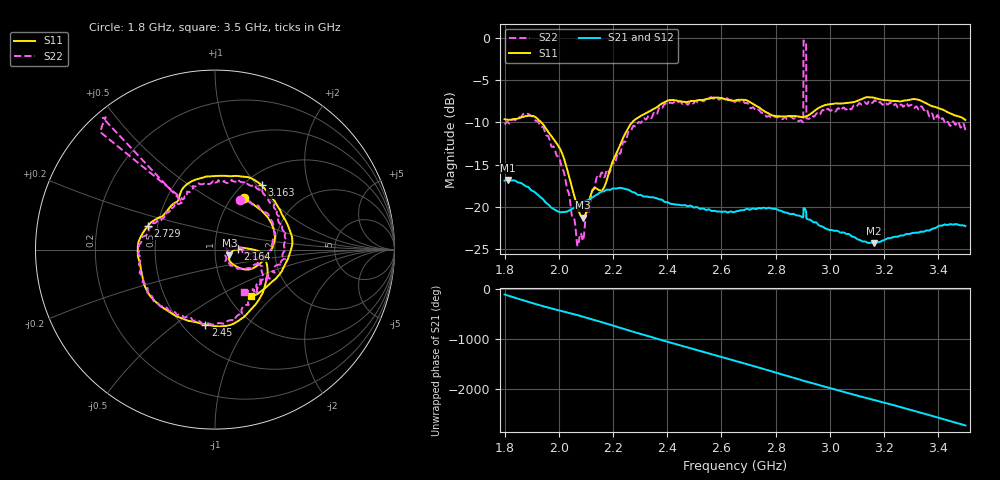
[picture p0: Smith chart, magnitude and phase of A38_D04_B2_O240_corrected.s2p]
! Created with skrf 1.9.0 (http://scikit-rf.org).
# Hz S RI R 50.0
!freq ReS11 ImS11 ReS21 ImS21 ReS12 ImS12 ReS22 ImS22
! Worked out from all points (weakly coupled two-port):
!   1601 points, 1.8 GHz to 3.5 GHz, reference 50 ohm
!   highest |S21| = -16.79 dB at 1.812 GHz (marker M1); lowest = -24.3 dB at 3.163 GHz (marker M2)
!   lowest |S11| = -21.2 dB at 2.089 GHz (marker M3), VSWR 1.19, Z = 58.6 - j3.86 ohm
!   |S11| at or under -10 dB: 1.936 GHz to 2.27 GHz (333.9 MHz wide, 15.9 % of centre)
!   |S22| runs from -24.6 to -0.3 dB; largest |S21 - S12| = 0.0023
!   S11 on the Smith chart (normalised r, x): 1.8 GHz: 1.13, +0.73; 2.164 GHz: 1.30, +0.01; 2.45 GHz: 0.64, -0.65; 2.729 GHz: 0.44, +0.14; 3.163 GHz: 1.19, +1.06; 3.5 GHz: 1.25, -0.73
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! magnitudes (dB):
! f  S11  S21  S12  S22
! 1.8 GHz  -9.6  -16.9  -16.9  -10.2
! 1.812 GHz  -9.7  -16.8  -16.8  -9.9
! 1.942 GHz  -10.2  -19.1  -19.1  -10.6
! 2.01 GHz  -13.5  -20.6  -20.6  -15.3
! 2.067 GHz  -19.8  -19.8  -19.8  -24.2
! 2.084 GHz  -21.1  -19.6  -19.5  -23.3
! 2.089 GHz  -21.2  -19.4  -19.4  -24.0
! 2.129 GHz  -17.8  -18.7  -18.7  -17.9
! 2.164 GHz  -17.8  -18.1  -18.1  -16.3
! 2.263 GHz  -10.3  -18.1  -18.1  -11.0
! 2.367 GHz  -8.1  -19.0  -19.0  -8.5
! 2.45 GHz  -7.5  -19.8  -19.8  -7.6
! 2.65 GHz  -7.4  -20.6  -20.5  -7.6
! 2.729 GHz  -8.0  -20.2  -20.2  -8.6
! 2.893 GHz  -9.3  -21.1  -21.0  -9.7
! 2.904 GHz  -9.3  -20.1  -20.1  -0.4
! 2.911 GHz  -9.3  -20.4  -20.4  -0.6
! 2.922 GHz  -9.1  -21.5  -21.4  -9.6
! 2.934 GHz  -8.9  -21.7  -21.6  -9.2
! 3.163 GHz  -7.1  -24.3  -24.2  -7.4
! 3.217 GHz  -7.4  -23.7  -23.6  -7.8
! 3.5 GHz  -9.7  -22.2  -22.2  -10.9
